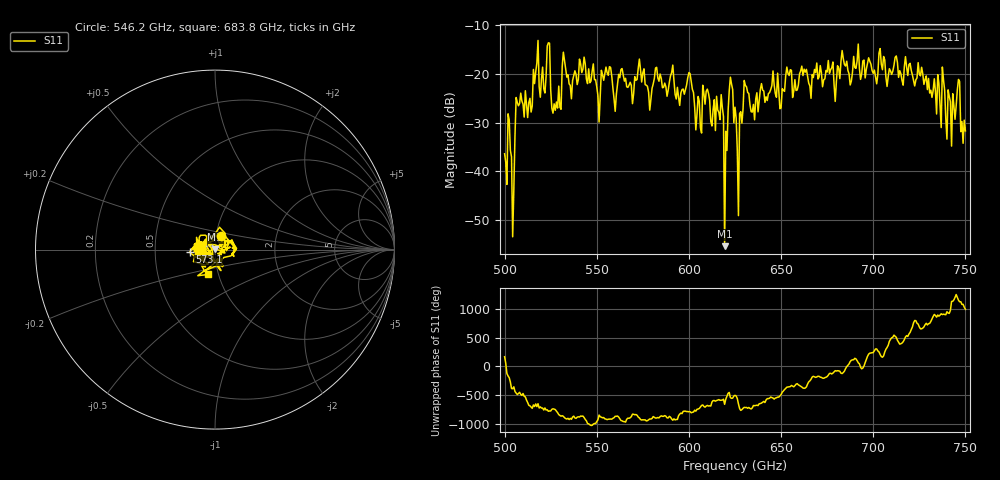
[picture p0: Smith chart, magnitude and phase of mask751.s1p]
!Created with skrf (http://scikit-rf.org).
# GHz S MA R 50.0
!freq magS11 angS11
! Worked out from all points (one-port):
!   401 points, 500 GHz to 750 GHz, reference 50 ohm
!   lowest |S11| = -55.4 dB at 619.4 GHz (marker M1), VSWR 1.00, Z = 50.1 + j0.15 ohm
!   |S11| at or under -10 dB: start of sweep to end of sweep
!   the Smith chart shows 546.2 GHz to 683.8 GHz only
!   S11 on the Smith chart (normalised r, x): 546.2 GHz: 1.05, +0.16; 573.1 GHz: 0.75, -0.02; 683.8 GHz: 0.89, -0.25
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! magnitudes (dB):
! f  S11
! 500 GHz  -36.4
! 502.5 GHz  -29.5
! 504.4 GHz  -53.5
! 507.5 GHz  -26.5
! 513.8 GHz  -25.0
! 516.9 GHz  -19.5
! 520.6 GHz  -18.6
! 523.8 GHz  -13.6
! 526.9 GHz  -26.1
! 531.2 GHz  -18.5
! 546.2 GHz  -21.8
! 562.5 GHz  -20.8
! 573.1 GHz  -16.9
! 593.8 GHz  -22.8
! 616.2 GHz  -27.9
! 619.4 GHz  -55.4
! 622.5 GHz  -20.7
! 625 GHz  -26.8
! 627.5 GHz  -28.2
! 631.2 GHz  -22.6
! 634.4 GHz  -27.8
! 656.2 GHz  -24.8
! 683.8 GHz  -16.8
! 687.5 GHz  -22.3
! 718.8 GHz  -20.3
! 741.2 GHz  -24.6
! 745.6 GHz  -23.2
! 750 GHz  -31.7
